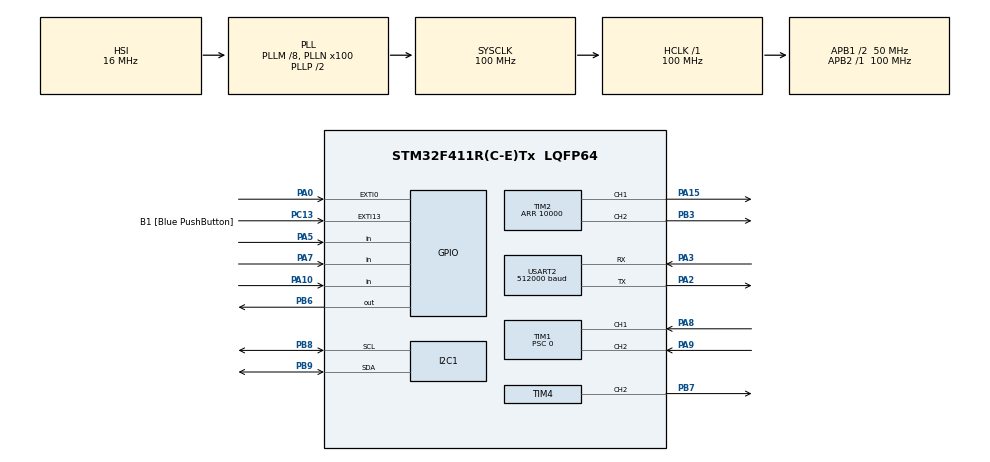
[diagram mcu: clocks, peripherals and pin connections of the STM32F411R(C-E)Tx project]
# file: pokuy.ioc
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Dma.Request0=USART2_RX
Dma.USART2_RX.0.Direction=DMA_PERIPH_TO_MEMORY
Dma.USART2_RX.0.FIFOMode=DMA_FIFOMODE_DISABLE
Dma.USART2_RX.0.Instance=DMA1_Stream5
Dma.USART2_RX.0.MemDataAlignment=DMA_MDATAALIGN_BYTE
Dma.USART2_RX.0.MemInc=DMA_MINC_ENABLE
Dma.USART2_RX.0.Mode=DMA_CIRCULAR
Dma.USART2_RX.0.PeriphDataAlignment=DMA_PDATAALIGN_BYTE
Dma.USART2_RX.0.PeriphInc=DMA_PINC_DISABLE
Dma.USART2_RX.0.Priority=DMA_PRIORITY_LOW
Mcu.Family=STM32F4
Mcu.Name=STM32F411R(C-E)Tx
Mcu.Package=LQFP64
NVIC.DMA1_Stream5_IRQn=true\:0\:0\:false\:false\:true\:false\:true\:true
NVIC.EXTI0_IRQn=true\:0\:0\:false\:false\:true\:true\:true\:true
NVIC.I2C1_ER_IRQn=true\:0\:0\:false\:false\:true\:true\:true\:true
NVIC.I2C1_EV_IRQn=true\:0\:0\:false\:false\:true\:true\:true\:true
NVIC.PriorityGroup=NVIC_PRIORITYGROUP_0
NVIC.TIM5_IRQn=true\:0\:0\:false\:false\:true\:true\:true\:true
NVIC.USART2_IRQn=true\:0\:0\:false\:false\:true\:true\:true\:true
PA0-WKUP.GPIO_ModeDefaultEXTI=GPIO_MODE_IT_RISING
PA0-WKUP.GPIO_PuPd=GPIO_PULLDOWN
PA0-WKUP.Signal=GPXTI0
PA10.Signal=GPIO_Input
PA13.GPIO_Label=TMS
PA13.Mode=Serial_Wire
PA13.Signal=SYS_JTMS-SWDIO
PA14.GPIO_Label=TCK
PA14.Mode=Serial_Wire
PA14.Signal=SYS_JTCK-SWCLK
PA15.Signal=S_TIM2_CH1_ETR
PA2.Mode=Asynchronous
PA2.Signal=USART2_TX
PA3.GPIO_ModeDefaultPP=GPIO_MODE_AF_PP
PA3.GPIO_PuPd=GPIO_NOPULL
PA3.GPIO_Speed=GPIO_SPEED_FREQ_VERY_HIGH
PA3.Mode=Asynchronous
PA3.Signal=USART2_RX
PA5.Signal=GPIO_Input
PA7.Signal=GPIO_Input
PA8.Signal=S_TIM1_CH1
PA9.Signal=S_TIM1_CH2
PB3.Signal=S_TIM2_CH2
PB6.Signal=GPIO_Output
PB7.Signal=S_TIM4_CH2
PB8.Mode=I2C
PB8.Signal=I2C1_SCL
PB9.Mode=I2C
PB9.Signal=I2C1_SDA
PC13-ANTI_TAMP.GPIO_Label=B1 [Blue PushButton]
PC13-ANTI_TAMP.GPIO_ModeDefaultEXTI=GPIO_MODE_IT_FALLING
PC13-ANTI_TAMP.Signal=GPXTI13
PC14-OSC32_IN.Mode=LSE-External-Oscillator
PC14-OSC32_IN.Signal=RCC_OSC32_IN
PC15-OSC32_OUT.Mode=LSE-External-Oscillator
PC15-OSC32_OUT.Signal=RCC_OSC32_OUT
PH0\ -\ OSC_IN.Mode=HSE-External-Clock-Source
PH0\ -\ OSC_IN.Signal=RCC_OSC_IN
PH1\ -\ OSC_OUT.Mode=HSE-External-Clock-Source
PH1\ -\ OSC_OUT.Signal=RCC_OSC_OUT
ProjectManager.HeapSize=0x200
ProjectManager.StackSize=0x400
ProjectManager.TargetToolchain=STM32CubeIDE
RCC.48MHZClocksFreq_Value=50000000
RCC.AHBFreq_Value=100000000
RCC.APB1CLKDivider=RCC_HCLK_DIV2
RCC.APB1Freq_Value=50000000
RCC.APB1TimFreq_Value=100000000
RCC.APB2Freq_Value=100000000
RCC.APB2TimFreq_Value=100000000
RCC.CortexFreq_Value=100000000
RCC.FLatency-AdvancedSettings=FLASH_LATENCY_3
RCC.HCLKFreq_Value=100000000
RCC.HSE_VALUE=8000000
RCC.HSI_VALUE=16000000
RCC.PLLM=8
RCC.PLLN=100
RCC.SYSCLKFreq_VALUE=100000000
RCC.SYSCLKSource=RCC_SYSCLKSOURCE_PLLCLK
RCC.VCOOutputFreq_Value=200000000
SH.S_TIM1_CH1.0=TIM1_CH1,Encoder_Interface
SH.S_TIM1_CH2.0=TIM1_CH2,Encoder_Interface
SH.S_TIM2_CH1_ETR.0=TIM2_CH1,PWM Generation1 CH1
SH.S_TIM2_CH2.0=TIM2_CH2,PWM Generation2 CH2
SH.S_TIM4_CH2.0=TIM4_CH2,PWM Generation2 CH2
TIM1.ClockDivision=TIM_CLOCKDIVISION_DIV1
TIM1.CounterMode=TIM_COUNTERMODE_UP
TIM1.EncoderMode=TIM_ENCODERMODE_TI1
TIM1.IC1Filter=0
TIM1.IC2Filter=0
TIM1.Period=4096
TIM1.Prescaler=0
TIM2.Channel-PWM\ Generation1\ CH1=TIM_CHANNEL_1
TIM2.Channel-PWM\ Generation2\ CH2=TIM_CHANNEL_2
TIM2.Period=10000
TIM4.Channel-PWM\ Generation2\ CH2=TIM_CHANNEL_2
TIM4.Period=1000
TIM5.Prescaler=99
USART2.BaudRate=512000
USART2.Parity=PARITY_EVEN
USART2.VirtualMode=VM_ASYNC
USART2.WordLength=WORDLENGTH_9B
VP_TIM2_VS_ClockSourceINT.Mode=Internal
VP_TIM4_VS_ClockSourceINT.Mode=Internal
VP_TIM5_VS_ClockSourceINT.Mode=Internal
board=NUCLEO-F411RE

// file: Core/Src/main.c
/* USER CODE BEGIN Header */
/**
  ******************************************************************************
  * @file           : main.c
  * @brief          : Main program body
  ******************************************************************************
  * @attention
  *
  * <h2><center>&copy; Copyright (c) 2021 STMicroelectronics.
  * All rights reserved.</center></h2>
  *
  * This software component is licensed by ST under BSD 3-Clause license,
  * the "License"; You may not use this file except in compliance with the
  * License. You may obtain a copy of the License at:
  *                        opensource.org/licenses/BSD-3-Clause
  *
  ******************************************************************************
  */
/* USER CODE END Header */
#include "main.h"

/* USER CODE BEGIN Includes */
#include "math.h"
/* USER CODE END Includes */

I2C_HandleTypeDef hi2c1;

TIM_HandleTypeDef htim1;
TIM_HandleTypeDef htim2;
TIM_HandleTypeDef htim4;
TIM_HandleTypeDef htim5;

UART_HandleTypeDef huart2;
DMA_HandleTypeDef hdma_usart2_rx;

/* USER CODE BEGIN PV */

//UART Zoneeeeeeeeeeeeeeeeeeeeee
uint8_t RxBuffer[64]={0};
int finishtask = 0;

void uartprotocol();
void sendAck(uint8_t ack);
void EndEffector();

//uint8_t ack=0;
int sunflower=0;
uint8_t Posdata = 0;
uint8_t PosdataPre = 0;
uint8_t stateuart = 0;
uint8_t mode = 0;
uint8_t frame = 0;
uint8_t data = 0;
uint8_t dataframe21 = 0;
uint8_t dataframe22 = 0;
uint8_t nstation[64] = {0};
uint8_t countloop = 0;
uint8_t loopcollect = 0;
uint8_t gripper = 1;
uint8_t gogoal = 0;
//uint8_t winput = 0;
//uint16_t thetainput = 0;
//uint8_t sethome = 0;
uint8_t position[4] = {0};
uint8_t station[10] = {0};
uint8_t nth = 0;
uint8_t numberofstation = 0;
uint8_t nextstation=0;
///////////////////////////////////////

uint64_t _micros = 0;
float EncoderVel = 0;
float wgu = 0.00;
float Kp = 610;
float Ki = 100;
float Kd = 80;
float inpwm = 700;
int homepwm = 2000;
float angel =0;
float pwm = 0;
float integral =0;
float error = 0;
float last =0;
float PID = 0;
float PID_p = 0;
float PID_i = 0;
float PID_d = 0;
float PID2 = 0;
int sethome = 1;
int homeset = 0;
uint16_t limit_state =0;
uint64_t Timestamp_Encoder = 0;
uint64_t Timestamp_home = 0;
int cw = 0;

uint64_t tt = 0;
uint64_t timestampmain = 0;
float winput = 0; //wdesire
float thetanow = 0;
float thetainput = 0;
float thetadiff = 0;
float testclockwiseoranticlockwise = 0;
float clockwiseoranticlockwise = 0;  //if 1 = clockwise , if 0 = anticlockwise
float t = 0;
float count = 0;
float theta = 0;
float w = 0;
float pu1 = 0;
float pe2 = 0;
float pe1 = 0;
float u = 0;
float delta_u = 0;
uint64_t x_bar = 0;

//rad,s,rad^2

//the group of variable for equation in physic
float thetainputrad = 0;
float thetanowrad = 0;
float thetadiffrad = 0;
float alpharad = 0.5;
float wmaxrad = 0;
float winputrad = 0;
float thalfrad = 0;
float timerad = 0;
float trad = 0;
float timestamploop1rad = 0;
float timeuseinloop1rad = 0;
float thetarad = 0;
float thetahalfrad = 0;
float wrad = 0;
float timestamplooprad = 0;
float timeuseinlooprad = 0;
float thetastablerad = 0;
float tstablerad = 0;
float tstableirad = 0;
float tstablefrad = 0;
float time1rad = 0;
float thetastableirad = 0;
float thetastablefrad = 0;
float wstableifrad = 0;
float wradhalf = 0;

//optional variables
float a = 0;
float b = 0;
float c = 0;
float d = 0;
float f = 0;
float g = 0;
float h = 0;
float i = 0;
float j = 0;
float k = 0;
float l = 0;
float m = 0;
float n = 0;
float bank = 0;
float start = 0;
float bank1 = 0;
//float gogoal = 0;
float ttt = 0;
float run = 0;
float stoprun = 0;
float testsethome = 0;
uint8_t goal[255] = {0};
/* USER CODE END PV */

void SystemClock_Config(void);
static void MX_GPIO_Init(void);
static void MX_TIM1_Init(void);
static void MX_TIM4_Init(void);
static void MX_TIM2_Init(void);
static void MX_DMA_Init(void);
static void MX_USART2_UART_Init(void);
static void MX_I2C1_Init(void);
static void MX_TIM5_Init(void);
/* USER CODE BEGIN PFP */
uint64_t micros();
float EncoderVelocity_Update();
float pidvelo();
float pidposi();

/* USER CODE END PFP */

int main(void)
{

  /* MCU Configuration--------------------------------------------------------*/

  /* Reset of all peripherals, Initializes the Flash interface and the Systick. */
  HAL_Init();

  /* Configure the system clock */
  SystemClock_Config();

  /* Initialize all configured peripherals */
  MX_GPIO_Init();
  MX_TIM1_Init();
  MX_TIM4_Init();
  MX_TIM2_Init();
  MX_DMA_Init();
  MX_USART2_UART_Init();
  MX_I2C1_Init();
  MX_TIM5_Init();
  /* USER CODE BEGIN 2 */

  //UART Zoneeeeeeeeeeeeeee
  HAL_UART_Receive_DMA(&huart2,RxBuffer, 64);
  ///////////////////////////////////////////////////////

  HAL_TIM_Base_Start_IT(&htim2);
  HAL_TIM_Base_Start_IT(&htim5);
  HAL_TIM_Encoder_Start(&htim1, TIM_CHANNEL_ALL);
//  HAL_TIM_Encoder_Start(&htim3, TIM_CHANNEL_ALL);
  HAL_TIM_PWM_Start(&htim2, TIM_CHANNEL_2);
  HAL_TIM_PWM_Start(&htim4, TIM_CHANNEL_1);

  /* USER CODE END 2 */

  /* Infinite loop */
  /* USER CODE BEGIN WHILE */
  while (1)
  {

	  uartprotocol();

//	  __HAL_TIM_SET_COMPARE(&htim2, TIM_CHANNEL_2, pwm);
//	 limit_state =  HAL_GPIO_ReadPin(GPIOB, GPIO_PIN_5);
//	 HAL_GPIO_ReadPin()

    /* USER CODE END WHILE */

    /* USER CODE BEGIN 3 */
//	  __HAL_TIM_SET_COMPARE(&htim2, TIM_CHANNEL_2, pwm);
//	  __HAL_TIM_SET_COMPARE(&htim4, TIM_CHANNEL_1, cw);

	  angel = (((htim1.Instance->CNT)*0.08789062));

	  ttt = htim1.Instance->CNT;
	 tt = htim5.Instance->CNT;
	 t = tt;
	 trad = (t/1000000);
	 PID2 = HAL_GPIO_ReadPin(GPIOB, GPIO_PIN_5);

	  station[1]= 30;
	  station[2]= 60;
	  station[3]= 220;
	  station[4]= 120;
	  station[5]= 140;
	  station[6]= 170;
	  station[7]= 75;
	  station[8]= 180;
	  station[9]= 200;

	  if(numberofstation>=1)
	  {
		  thetainput= station[goal[nextstation]];
	  }

	  if (sethome == 1)
	  {
		  if(HAL_GPIO_ReadPin(GPIOB, GPIO_PIN_5)==1)
		  {
		  	  testsethome = 1;
			  __HAL_TIM_SET_COMPARE(&htim2, TIM_CHANNEL_2, homepwm);
			  HAL_GPIO_WritePin(GPIOB, GPIO_PIN_6 , 0);
		  }

		  if(HAL_GPIO_ReadPin(GPIOB, GPIO_PIN_5)==0)
		  {
			  __HAL_TIM_SET_COMPARE(&htim2, TIM_CHANNEL_2, 0);
			htim1.Instance->CNT = 0;

			if(htim1.Instance->CNT == 0)
			{
				htim1.Instance->CNT = 0;
				sethome = 0;
				Timestamp_home = micros();
//				pwm = 0;
				homeset = 1;
				testsethome = 0;
				stoprun=1;
			}

		  }
	  }

	  if (micros() - Timestamp_home >= 2000000 && homeset ==1)
	  {
			htim1.Instance->CNT = 0;
			homeset = 0;
	  }

	 if(gogoal == 1)
	 {
		 b = thetainput;
		 d = winput;
		 count = 0;
		 thetanow = angel;
		 gogoal = 0;
		 start = 1;
		 stoprun = 0;
		 sunflower = 0;
	 }

	 testclockwiseoranticlockwise = thetainput - thetanow;

	 if(testclockwiseoranticlockwise >= 0)
	 {
		 clockwiseoranticlockwise = 1;     //clockwise
	 }
	 else if(testclockwiseoranticlockwise < 0)
	 {
		 clockwiseoranticlockwise = 0;     //anticlockwise
	 }

	 l = thetainput - thetanow;
	 thetadiff = fabs(l);
	 thetainputrad = ((thetainput*M_PI)/180);
	 thetanowrad = ((thetanow*M_PI)/180);
	 m = thetainputrad - thetanowrad;
	 thetadiffrad = fabs(m);
	 wmaxrad = sqrt(alpharad*thetadiffrad);
	 winputrad = ((winput*2*M_PI)/60);
	 n = -1;

	 if(wmaxrad < winputrad && start == 1) //case not reach to input
	 {
		 if(clockwiseoranticlockwise == 1)
	     {
			 thalfrad = wmaxrad/alpharad;
			 timerad = 2*thalfrad;

			 if(count == 0)
			 {
				 timestamploop1rad = trad;
				 run = 1;
				 count = 1;
			 }

			 timeuseinloop1rad = trad - timestamploop1rad;

			 if(timeuseinloop1rad <= thalfrad)    //first half
			 {
				 k = (0.5)*(alpharad)*(timeuseinloop1rad)*(timeuseinloop1rad);
				 thetarad = k+thetanowrad;
				 wrad = (alpharad)*(timeuseinloop1rad);
				 thetahalfrad = thetarad;
				 wradhalf = wrad;
			 }

			 else if(timeuseinloop1rad > thalfrad && timeuseinloop1rad <= timerad)
			 {
				 a = timeuseinloop1rad-thalfrad;
				 thetarad = (wradhalf*a)-(0.5*alpharad*a*a)+thetahalfrad;
				 wrad = wradhalf-(alpharad*a);
			 }

			 else if(timeuseinloop1rad > timerad && stoprun == 0)
			 {
				 run = 0;
				 stoprun = 1;

				 //theta = angel;
			 }

		 }
		 else if(clockwiseoranticlockwise == 0)
		 {
			 thalfrad = wmaxrad/alpharad;
			 timerad = 2*thalfrad;

			 if(count == 0)
			 {
				 run = 1;
				 timestamploop1rad = trad;
				 count = 1;
			 }

			 timeuseinloop1rad = trad - timestamploop1rad;

			 if(timeuseinloop1rad <= thalfrad)    //first half
			 {
				 k = (n)*(0.5)*(alpharad)*(timeuseinloop1rad)*(timeuseinloop1rad);
				 thetarad = k+thetanowrad;
				 wrad = (n)*(alpharad)*(timeuseinloop1rad);
				 thetahalfrad = thetarad;
				 wradhalf = wrad;
			 }

			 else if(timeuseinloop1rad > thalfrad && timeuseinloop1rad <= timerad)
			 {
				 a = timeuseinloop1rad-thalfrad;
				 thetarad = (wradhalf*a)+(0.5*alpharad*a*a)+thetahalfrad;
				 wrad = wradhalf+(alpharad*a);
			 }

			 else if(timeuseinloop1rad > timerad && stoprun == 0)
			 {
				 run = 0;
				 stoprun = 1;
				 //theta = angel;

			 }
		 }
	  }
	  else if(wmaxrad >= winputrad && start == 1)
	  {
		 if(clockwiseoranticlockwise == 1)
		 {
			  if(count == 0)
			  {
				  run = 1;
				  timestamplooprad = trad;
				  count = 1;
			  }

			  timeuseinlooprad = trad - timestamplooprad;
			  c = (winputrad*winputrad)/alpharad;
			  thetastablerad = thetadiffrad - c;
			  f = winputrad/alpharad;
			  g = thetastablerad/winputrad;
			  tstablerad = g;
			  tstableirad = f;
			  tstablefrad = f + g;
			  time1rad = f + g + f;

			  if(timeuseinlooprad <= tstableirad)
			  {
				   wrad = alpharad*timeuseinlooprad;
				   j = (wrad*wrad)/(2*alpharad);
				   thetarad = j+thetanowrad;
				   thetastableirad = thetarad;
				   wstableifrad = wrad;
			  }

			  else if(timeuseinlooprad > tstableirad && timeuseinlooprad <= tstablefrad)
			  {
				   h = timeuseinlooprad-tstableirad;
				   thetarad = (wstableifrad*h)+(thetastableirad);
				   wrad = wstableifrad;
				   thetastablefrad = thetarad;
			  }

			  else if(timeuseinlooprad > tstablefrad && timeuseinlooprad <= time1rad)
			  {
				   i = timeuseinlooprad-tstablefrad;
				   thetarad = (wstableifrad*i)-(0.5*alpharad*i*i)+(thetastablefrad);
				   wrad = wstableifrad-(alpharad*i);
			  }

			  else if(timeuseinlooprad > time1rad && stoprun == 0)
			  {
				   run = 0;
				   stoprun = 1;
				   //theta = angel;

			  }
	  	 }
		 else if(clockwiseoranticlockwise == 0)
		 {
			  if(count == 0)
			  {
				  run = 1;
				  timestamplooprad = trad;
				  count = 1;
			  }

			  timeuseinlooprad = trad - timestamplooprad;
			  c = (winputrad*winputrad)/alpharad;
			  thetastablerad = thetadiffrad - c;
			  f = winputrad/alpharad;
			  g = thetastablerad/winputrad;
			  tstablerad = g;
			  tstableirad = f;
			  tstablefrad = f + g;
			  time1rad = f + g + f;

			  if(timeuseinlooprad <= tstableirad)
			  {
//						   alpharad = 0.5;
				   wrad = n*alpharad*timeuseinlooprad;
				   j = (n*wrad*wrad)/(2*alpharad);
				   thetarad = j+thetanowrad;
				   thetastableirad = thetarad;
				   wstableifrad = wrad;
			  }

			  else if(timeuseinlooprad > tstableirad && timeuseinlooprad <= tstablefrad)
			  {
//						   alpha = 0;
				   h = timeuseinlooprad-tstableirad;
				   thetarad = (wstableifrad*h)+(thetastableirad);
				   wrad = wstableifrad;
				   thetastablefrad = thetarad;
			  }

			  else if(timeuseinlooprad > tstablefrad && timeuseinlooprad <= time1rad)
			  {
//						   alpha = -0.5;
				   i = timeuseinlooprad-tstablefrad;
				   thetarad = (wstableifrad*i)+(0.5*alpharad*i*i)+(thetastablefrad);
				   wrad = wstableifrad+(alpharad*i);
			  }

			  else if(timeuseinlooprad > time1rad && stoprun == 0)
			  {
				  run = 0;
				  stoprun = 1;

			  }
	  	   }
	  }
	  theta = (thetarad*180)/(M_PI);
	  w = (wrad*60)/(2*M_PI);
//

//trad = second
//theta = degree
//w = rpm rad/min

//	  __HAL_TIM_SET_COMPARE(&htim2, TIM_CHANNEL_2, (int) pwm);
	  ///////////////PID////////////////
//	  x_bar = HAL_GPIO_ReadPin(GPIOA, GPIO_PIN_7);

	  if (micros() - Timestamp_Encoder >= 100)
	  {
 			Timestamp_Encoder = micros();
			EncoderVel = (EncoderVel * 99 + EncoderVelocity_Update()) / 100.0;
			wgu = EncoderVel*60 / 4095;

			if (wgu > 15 || wgu<-15)
			{
				wgu = 0;
			}

			error = (theta - angel);

			if (error<0)
			{
				error =0-error;
			}

			integral += error;
			if(stoprun!=1)
			{
				PID_p = Kp*error;
				PID_i = Ki*integral/Timestamp_Encoder;
				PID_d = Kd*(error-last);
				PID = PID_p + PID_i + PID_d;
			}

			last = error;
			if (sethome == 0)
			{
				pwm = PID  ;
			}

			if (pwm > 10000 )
			{
				 pwm = 10000;
			}

			if (angel < thetainput )
			{

			  __HAL_TIM_SET_COMPARE(&htim2, TIM_CHANNEL_2, (int)pwm+inpwm);
			  HAL_GPIO_WritePin(GPIOB, GPIO_PIN_6 , 0);
			}

			if (angel > thetainput)
			{

			  __HAL_TIM_SET_COMPARE(&htim2, TIM_CHANNEL_2, (int)pwm+inpwm);
			  HAL_GPIO_WritePin(GPIOB, GPIO_PIN_6 , 1);
			}

			if(run == 0 && stoprun == 1 && sunflower == 0)
			{

				__HAL_TIM_SET_COMPARE(&htim2, TIM_CHANNEL_2, 0);
				pwm = 0;
				PID = 0;
				PID_i  = 0;
				PID_d = 0;

				integral = 0;
				finishtask = 1;

//				EndEffector();
			}

			if (finishtask == 1)
			  {
				sendAck(2);
//				sunflower=7;
				finishtask = 0;
				sunflower = 1;
				EndEffector();
			  }
      }
//
  }

  /* USER CODE END 3 */
}

void SystemClock_Config(void)
{
  RCC_OscInitTypeDef RCC_OscInitStruct = {0};
  RCC_ClkInitTypeDef RCC_ClkInitStruct = {0};

  /** Configure the main internal regulator output voltage
  */
  __HAL_RCC_PWR_CLK_ENABLE();
  __HAL_PWR_VOLTAGESCALING_CONFIG(PWR_REGULATOR_VOLTAGE_SCALE1);
  /** Initializes the RCC Oscillators according to the specified parameters
  * in the RCC_OscInitTypeDef structure.
  */
  RCC_OscInitStruct.OscillatorType = RCC_OSCILLATORTYPE_HSI;
  RCC_OscInitStruct.HSIState = RCC_HSI_ON;
  RCC_OscInitStruct.HSICalibrationValue = RCC_HSICALIBRATION_DEFAULT;
  RCC_OscInitStruct.PLL.PLLState = RCC_PLL_ON;
  RCC_OscInitStruct.PLL.PLLSource = RCC_PLLSOURCE_HSI;
  RCC_OscInitStruct.PLL.PLLM = 8;
  RCC_OscInitStruct.PLL.PLLN = 100;
  RCC_OscInitStruct.PLL.PLLP = RCC_PLLP_DIV2;
  RCC_OscInitStruct.PLL.PLLQ = 4;
  if (HAL_RCC_OscConfig(&RCC_OscInitStruct) != HAL_OK)
  {
    Error_Handler();
  }
  /** Initializes the CPU, AHB and APB buses clocks
  */
  RCC_ClkInitStruct.ClockType = RCC_CLOCKTYPE_HCLK|RCC_CLOCKTYPE_SYSCLK
                              |RCC_CLOCKTYPE_PCLK1|RCC_CLOCKTYPE_PCLK2;
  RCC_ClkInitStruct.SYSCLKSource = RCC_SYSCLKSOURCE_PLLCLK;
  RCC_ClkInitStruct.AHBCLKDivider = RCC_SYSCLK_DIV1;
  RCC_ClkInitStruct.APB1CLKDivider = RCC_HCLK_DIV2;
  RCC_ClkInitStruct.APB2CLKDivider = RCC_HCLK_DIV1;

  if (HAL_RCC_ClockConfig(&RCC_ClkInitStruct, FLASH_LATENCY_3) != HAL_OK)
  {
    Error_Handler();
  }
}

static void MX_I2C1_Init(void)
{

  hi2c1.Instance = I2C1;
  hi2c1.Init.ClockSpeed = 100000;
  hi2c1.Init.DutyCycle = I2C_DUTYCYCLE_2;
  hi2c1.Init.OwnAddress1 = 0;
  hi2c1.Init.AddressingMode = I2C_ADDRESSINGMODE_7BIT;
  hi2c1.Init.DualAddressMode = I2C_DUALADDRESS_DISABLE;
  hi2c1.Init.OwnAddress2 = 0;
  hi2c1.Init.GeneralCallMode = I2C_GENERALCALL_DISABLE;
  hi2c1.Init.NoStretchMode = I2C_NOSTRETCH_DISABLE;
  if (HAL_I2C_Init(&hi2c1) != HAL_OK)
  {
    Error_Handler();
  }

}

static void MX_TIM1_Init(void)
{

  TIM_Encoder_InitTypeDef sConfig = {0};
  TIM_MasterConfigTypeDef sMasterConfig = {0};

  htim1.Instance = TIM1;
  htim1.Init.Prescaler = 0;
  htim1.Init.CounterMode = TIM_COUNTERMODE_UP;
  htim1.Init.Period = 4096;
  htim1.Init.ClockDivision = TIM_CLOCKDIVISION_DIV1;
  htim1.Init.RepetitionCounter = 0;
  htim1.Init.AutoReloadPreload = TIM_AUTORELOAD_PRELOAD_DISABLE;
  sConfig.EncoderMode = TIM_ENCODERMODE_TI1;
  sConfig.IC1Polarity = TIM_ICPOLARITY_RISING;
  sConfig.IC1Selection = TIM_ICSELECTION_DIRECTTI;
  sConfig.IC1Prescaler = TIM_ICPSC_DIV1;
  sConfig.IC1Filter = 0;
  sConfig.IC2Polarity = TIM_ICPOLARITY_RISING;
  sConfig.IC2Selection = TIM_ICSELECTION_DIRECTTI;
  sConfig.IC2Prescaler = TIM_ICPSC_DIV1;
  sConfig.IC2Filter = 0;
  if (HAL_TIM_Encoder_Init(&htim1, &sConfig) != HAL_OK)
  {
    Error_Handler();
  }
  sMasterConfig.MasterOutputTrigger = TIM_TRGO_RESET;
  sMasterConfig.MasterSlaveMode = TIM_MASTERSLAVEMODE_DISABLE;
  if (HAL_TIMEx_MasterConfigSynchronization(&htim1, &sMasterConfig) != HAL_OK)
  {
    Error_Handler();
  }

}

static void MX_TIM2_Init(void)
{

  TIM_ClockConfigTypeDef sClockSourceConfig = {0};
  TIM_MasterConfigTypeDef sMasterConfig = {0};
  TIM_OC_InitTypeDef sConfigOC = {0};

  htim2.Instance = TIM2;
  htim2.Init.Prescaler = 0;
  htim2.Init.CounterMode = TIM_COUNTERMODE_UP;
  htim2.Init.Period = 10000;
  htim2.Init.ClockDivision = TIM_CLOCKDIVISION_DIV1;
  htim2.Init.AutoReloadPreload = TIM_AUTORELOAD_PRELOAD_DISABLE;
  if (HAL_TIM_Base_Init(&htim2) != HAL_OK)
  {
    Error_Handler();
  }
  sClockSourceConfig.ClockSource = TIM_CLOCKSOURCE_INTERNAL;
  if (HAL_TIM_ConfigClockSource(&htim2, &sClockSourceConfig) != HAL_OK)
  {
    Error_Handler();
  }
  if (HAL_TIM_PWM_Init(&htim2) != HAL_OK)
  {
    Error_Handler();
  }
  sMasterConfig.MasterOutputTrigger = TIM_TRGO_RESET;
  sMasterConfig.MasterSlaveMode = TIM_MASTERSLAVEMODE_DISABLE;
  if (HAL_TIMEx_MasterConfigSynchronization(&htim2, &sMasterConfig) != HAL_OK)
  {
    Error_Handler();
  }
  sConfigOC.OCMode = TIM_OCMODE_PWM1;
  sConfigOC.Pulse = 0;
  sConfigOC.OCPolarity = TIM_OCPOLARITY_HIGH;
  sConfigOC.OCFastMode = TIM_OCFAST_DISABLE;
  if (HAL_TIM_PWM_ConfigChannel(&htim2, &sConfigOC, TIM_CHANNEL_1) != HAL_OK)
  {
    Error_Handler();
  }
  if (HAL_TIM_PWM_ConfigChannel(&htim2, &sConfigOC, TIM_CHANNEL_2) != HAL_OK)
  {
    Error_Handler();
  }
  HAL_TIM_MspPostInit(&htim2);

}

static void MX_TIM4_Init(void)
{

  TIM_ClockConfigTypeDef sClockSourceConfig = {0};
  TIM_MasterConfigTypeDef sMasterConfig = {0};
  TIM_OC_InitTypeDef sConfigOC = {0};

  htim4.Instance = TIM4;
  htim4.Init.Prescaler = 0;
  htim4.Init.CounterMode = TIM_COUNTERMODE_UP;
  htim4.Init.Period = 1000;
  htim4.Init.ClockDivision = TIM_CLOCKDIVISION_DIV1;
  htim4.Init.AutoReloadPreload = TIM_AUTORELOAD_PRELOAD_DISABLE;
  if (HAL_TIM_Base_Init(&htim4) != HAL_OK)
  {
    Error_Handler();
  }
  sClockSourceConfig.ClockSource = TIM_CLOCKSOURCE_INTERNAL;
  if (HAL_TIM_ConfigClockSource(&htim4, &sClockSourceConfig) != HAL_OK)
  {
    Error_Handler();
  }
  if (HAL_TIM_PWM_Init(&htim4) != HAL_OK)
  {
    Error_Handler();
  }
  sMasterConfig.MasterOutputTrigger = TIM_TRGO_RESET;
  sMasterConfig.MasterSlaveMode = TIM_MASTERSLAVEMODE_DISABLE;
  if (HAL_TIMEx_MasterConfigSynchronization(&htim4, &sMasterConfig) != HAL_OK)
  {
    Error_Handler();
  }
  sConfigOC.OCMode = TIM_OCMODE_PWM1;
  sConfigOC.Pulse = 0;
  sConfigOC.OCPolarity = TIM_OCPOLARITY_HIGH;
  sConfigOC.OCFastMode = TIM_OCFAST_DISABLE;
  if (HAL_TIM_PWM_ConfigChannel(&htim4, &sConfigOC, TIM_CHANNEL_2) != HAL_OK)
  {
    Error_Handler();
  }
  HAL_TIM_MspPostInit(&htim4);

}

static void MX_TIM5_Init(void)
{

  TIM_ClockConfigTypeDef sClockSourceConfig = {0};
  TIM_MasterConfigTypeDef sMasterConfig = {0};

  htim5.Instance = TIM5;
  htim5.Init.Prescaler = 99;
  htim5.Init.CounterMode = TIM_COUNTERMODE_UP;
  htim5.Init.Period = 4294967295;
  htim5.Init.ClockDivision = TIM_CLOCKDIVISION_DIV1;
  htim5.Init.AutoReloadPreload = TIM_AUTORELOAD_PRELOAD_DISABLE;
  if (HAL_TIM_Base_Init(&htim5) != HAL_OK)
  {
    Error_Handler();
  }
  sClockSourceConfig.ClockSource = TIM_CLOCKSOURCE_INTERNAL;
  if (HAL_TIM_ConfigClockSource(&htim5, &sClockSourceConfig) != HAL_OK)
  {
    Error_Handler();
  }
  sMasterConfig.MasterOutputTrigger = TIM_TRGO_RESET;
  sMasterConfig.MasterSlaveMode = TIM_MASTERSLAVEMODE_DISABLE;
  if (HAL_TIMEx_MasterConfigSynchronization(&htim5, &sMasterConfig) != HAL_OK)
  {
    Error_Handler();
  }

}

static void MX_USART2_UART_Init(void)
{

  huart2.Instance = USART2;
  huart2.Init.BaudRate = 512000;
  huart2.Init.WordLength = UART_WORDLENGTH_9B;
  huart2.Init.StopBits = UART_STOPBITS_1;
  huart2.Init.Parity = UART_PARITY_EVEN;
  huart2.Init.Mode = UART_MODE_TX_RX;
  huart2.Init.HwFlowCtl = UART_HWCONTROL_NONE;
  huart2.Init.OverSampling = UART_OVERSAMPLING_16;
  if (HAL_UART_Init(&huart2) != HAL_OK)
  {
    Error_Handler();
  }

}

static void MX_DMA_Init(void)
{

  /* DMA controller clock enable */
  __HAL_RCC_DMA1_CLK_ENABLE();

  /* DMA interrupt init */
  /* DMA1_Stream5_IRQn interrupt configuration */
  HAL_NVIC_SetPriority(DMA1_Stream5_IRQn, 0, 0);
  HAL_NVIC_EnableIRQ(DMA1_Stream5_IRQn);

}

static void MX_GPIO_Init(void)
{
  GPIO_InitTypeDef GPIO_InitStruct = {0};

  /* GPIO Ports Clock Enable */
  __HAL_RCC_GPIOC_CLK_ENABLE();
  __HAL_RCC_GPIOH_CLK_ENABLE();
  __HAL_RCC_GPIOA_CLK_ENABLE();
  __HAL_RCC_GPIOB_CLK_ENABLE();

  /*Configure GPIO pin Output Level */
  HAL_GPIO_WritePin(GPIOB, GPIO_PIN_6, GPIO_PIN_RESET);

  /*Configure GPIO pin : B1_Pin */
  GPIO_InitStruct.Pin = B1_Pin;
  GPIO_InitStruct.Mode = GPIO_MODE_IT_FALLING;
  GPIO_InitStruct.Pull = GPIO_NOPULL;
  HAL_GPIO_Init(B1_GPIO_Port, &GPIO_InitStruct);

  /*Configure GPIO pin : PA0 */
  GPIO_InitStruct.Pin = GPIO_PIN_0;
  GPIO_InitStruct.Mode = GPIO_MODE_IT_RISING;
  GPIO_InitStruct.Pull = GPIO_PULLDOWN;
  HAL_GPIO_Init(GPIOA, &GPIO_InitStruct);

  /*Configure GPIO pins : PA5 PA7 PA10 */
  GPIO_InitStruct.Pin = GPIO_PIN_5|GPIO_PIN_7|GPIO_PIN_10;
  GPIO_InitStruct.Mode = GPIO_MODE_INPUT;
  GPIO_InitStruct.Pull = GPIO_NOPULL;
  HAL_GPIO_Init(GPIOA, &GPIO_InitStruct);

  /*Configure GPIO pin : PB6 */
  GPIO_InitStruct.Pin = GPIO_PIN_6;
  GPIO_InitStruct.Mode = GPIO_MODE_OUTPUT_PP;
  GPIO_InitStruct.Pull = GPIO_NOPULL;
  GPIO_InitStruct.Speed = GPIO_SPEED_FREQ_LOW;
  HAL_GPIO_Init(GPIOB, &GPIO_InitStruct);

  /* EXTI interrupt init*/
  HAL_NVIC_SetPriority(EXTI0_IRQn, 0, 0);
  HAL_NVIC_EnableIRQ(EXTI0_IRQn);

}

/* USER CODE BEGIN 4 */

enum
{
	init=0,startmode=1,collectdataframe2_1=2,collectdataframe2_2=3,loopframe3=4,collectdataframe3=5,checksum=6,checkconnect=7
};

void uartprotocol(){

	Posdata=huart2.RxXferSize-huart2.hdmarx->Instance->NDTR;
	if(Posdata!=PosdataPre )
	{
		switch(stateuart)
		{
			case 0:			//init >> check if it connect to MCU
				if (RxBuffer[PosdataPre] == 0b10010010)
				{
					mode = 2;		//connect mcu
					frame = 1;
					stateuart = checkconnect;
				}
			break;

			case 1:			//startmode >> check Start+Mode
				if (RxBuffer[PosdataPre] == 0b10010011)
				{
					mode = 3;		//disconnect mcu
					frame = 1;
					stateuart = checksum;
				}

				else if (RxBuffer[PosdataPre] == 0b10010100)
				{
					mode = 4;		//set angular velocity
					frame = 2;
					data = 0x94;
					stateuart = collectdataframe2_1;
				}

				else if (RxBuffer[PosdataPre] == 0b10010101)
				{
					mode = 5;		//set angular position
					frame = 2;
					data = 0x95;
					stateuart = collectdataframe2_1;
				}

				else if (RxBuffer[PosdataPre] == 0b10010110)
				{
					mode = 6;		//set goal 1 station
					frame = 2;
					data = 0x96;
					stateuart = collectdataframe2_1;
				}

				else if (RxBuffer[PosdataPre] == 0b10010111)
				{
					mode = 7;		//set goal n station
					frame = 3;
					data = 0x97;
					stateuart = loopframe3;
				}

				else if (RxBuffer[PosdataPre] == 0b10011000)
				{
					mode = 8;		//go goal
					frame = 1;
					stateuart = checksum;
				}

				else if (RxBuffer[PosdataPre] == 0b10011001)
				{
					mode = 9;		//request current station
					frame = 1;
					stateuart = checksum;
				}

				else if (RxBuffer[PosdataPre] == 0b10011010)
				{
					mode = 10;		//request angular position
					frame = 1;
					stateuart = checksum;
				}

				else if (RxBuffer[PosdataPre] == 0b10011011)
				{
					mode = 11;		//request angular velocity
					frame = 1;
					stateuart = checksum;
				}

				else if (RxBuffer[PosdataPre] == 0b10011100)
				{
					mode = 12;		//enable gripper
					frame = 1;
					stateuart = checksum;
				}

				else if (RxBuffer[PosdataPre] == 0b10011101)
				{
					mode = 13;		//disable gripper
					frame = 1;
					stateuart = checksum;
				}

				else if (RxBuffer[PosdataPre] == 0b10011110)
				{
					mode = 14;		//set home
					frame = 1;
					stateuart = checksum;
				}

			break;

			case 2:			//collect data frame 2_1
				if (frame == 2)
				{
					dataframe21 = RxBuffer[PosdataPre];
					data += RxBuffer[PosdataPre];
				}
				stateuart = collectdataframe2_2;

			break;

			case 3:			//collect data frame 2_2
				if (frame == 2)
				{
					dataframe22 = RxBuffer[PosdataPre];
					data += RxBuffer[PosdataPre];
				}
				stateuart = checksum;

			break;

			case 4:			//loop frame 3
				{
				loopcollect = RxBuffer[PosdataPre];
				data += RxBuffer[PosdataPre];
				stateuart = collectdataframe3;
				}
			break;

			case 5:			//collect data frame 3
				if (countloop < loopcollect)
				{
					data += RxBuffer[PosdataPre];
					nstation[countloop] = (RxBuffer[PosdataPre] & 0b1111);
					nstation[countloop+1] = ((RxBuffer[PosdataPre] & 0b11110000) >>4 );
					countloop += 2;
					stateuart = collectdataframe3;
					sunflower = 2;
				}
				else
				{
					stateuart = checksum;
				}

			break;

			case 6:			//checksum
				data= ~(data);
				sunflower = 10;
				if (mode == 3 && RxBuffer[PosdataPre] == 0b01101100)	//disconnect
				{
					sendAck(1);
					stateuart = startmode;
				}

				else if (mode == 4 && RxBuffer[PosdataPre] == data )	//set angular velocity
				{
					winput = dataframe22*10/255;			//rpm
					sendAck(1);
					stateuart = startmode;
				}

				else if (mode == 5 && RxBuffer[PosdataPre] ==  data )	//set angular position
				{
					thetainput = ((dataframe21*256) + dataframe22)*180/(10000*3.14159265);  	//degree
					sendAck(1);
					stateuart = startmode;
				}

				else if (mode == 6 && RxBuffer[PosdataPre] == data )	//set goal 1 station
				{
					goal[0] = dataframe22;
					numberofstation=1;
					nextstation=0;
					sendAck(1);
					stateuart = startmode;
				}

				else if (mode == 7 && RxBuffer[PosdataPre] == data )	//set goal n station
				{
					sunflower =3;
					sendAck(1);
					stateuart = startmode;
				}

				else if (mode == 8 && RxBuffer[PosdataPre] == 0b01100111)	//go goal
				{
					gogoal = 1;
					sendAck(1);
					stateuart = startmode;
				}

				else if (mode == 9 && RxBuffer[PosdataPre] == 0b01100110)	//request current station
				{
					sendAck(1);
					stateuart = startmode;
				}

				else if (mode == 10 && RxBuffer[PosdataPre] == 0b01100101)	//request angular position
				{
					sendAck(1);
					float radthousand = angel*10000*3.14/180;		//angel = present degree that read from encoder
					uint8_t p1 = (uint8_t)(radthousand/256);
					uint8_t p2 = (uint8_t)((int)(radthousand)%256);
					uint8_t checksumposition = ~((0b10011010+p1+p2) & 0xff);
					uint8_t position[32] = {0b10011010, p1,p2,checksumposition};
					HAL_UART_Transmit(&huart2, position, 4, 100);
					stateuart = startmode;
				}

				else if (mode == 11 && RxBuffer[PosdataPre] == 0b01100100)	//request angular velocity
				{
					sendAck(1);
					uint8_t omega = (uint8_t)(wgu*255/10);			// wgu = present omega that read from encoder
					uint8_t checksumvelocity = ~((0b10011011+omega) & 0xff);
					uint8_t velocity[32] = {0b10011011, 0,omega,checksumvelocity};
					HAL_UART_Transmit(&huart2, velocity, 4, 100);
					stateuart = startmode;
				}

				else if (mode == 12 && RxBuffer[PosdataPre] == 0b01100011)	//enable gripper
				{
					gripper = 1;
					sendAck(1);
					stateuart = startmode;
				}

				else if (mode == 13 && RxBuffer[PosdataPre] == 0b01100010)	//disable gripper
				{
					gripper = 0;
					sendAck(1);
					stateuart = startmode;
				}

				else if (mode == 14 && RxBuffer[PosdataPre] == 0b01100001)	//set home
				{
					sethome = 1;
					sendAck(1);
					stateuart = startmode;
				}

			break;

			case 7:		//checkconnect
				if (RxBuffer[PosdataPre] == 0b01101101)
				{
					sendAck(1);
				}
				stateuart = startmode;
			break;

		}
		PosdataPre=(PosdataPre+1)%huart2.RxXferSize;
	}
}

void sendAck(uint8_t ack)
{
	static uint8_t ack1[2]={0x58,0b01110101};
	static uint8_t ack2[2]={70,110};
	HAL_Delay(20);
	if(ack == 1)
	{
		HAL_UART_Transmit_IT(&huart2, ack1, 2);
	}

	else if(ack ==2)
	{
//		return;
		HAL_UART_Transmit_IT(&huart2, ack2, 2);
//	ackackbank = 1;

//		ackcount = ackcount + 1;
	}

}

void EndEffector()
{
	if (gripper == 1)
	{
		static const uint8_t laser_Addr=(0x23<<1);
		static uint8_t pdatastart[1]={0x45};
		HAL_I2C_Master_Transmit_IT(&hi2c1, laser_Addr, pdatastart, 1);
	}
}

void HAL_GPIO_EXTI_Callback(uint16_t GPIO_Pin)
{
  if(GPIO_Pin == GPIO_PIN_0)
  {
	  TIM1->CNT = 0;
  }
}
#define  HTIM_ENCODER htim1
#define  MAX_SUBPOSITION_OVERFLOW 8192
#define  MAX_ENCODER_PERIOD 8192
float EncoderVelocity_Update() {
	//Save Last state
	static uint32_t EncoderLastPosition = 0;
	static uint64_t EncoderLastTimestamp = 0;

	//read data
	uint32_t EncoderNowPosition = HTIM_ENCODER.Instance->CNT;
	uint64_t EncoderNowTimestamp = micros();

	int32_t EncoderPositionDiff;
	uint64_t EncoderTimeDiff;

	EncoderTimeDiff = EncoderNowTimestamp - EncoderLastTimestamp;
	EncoderPositionDiff = EncoderNowPosition - EncoderLastPosition;

	//compensate overflow and underflow
	if (EncoderPositionDiff >= MAX_SUBPOSITION_OVERFLOW) {
		EncoderPositionDiff -= MAX_ENCODER_PERIOD;
	} else if (-EncoderPositionDiff >= MAX_SUBPOSITION_OVERFLOW) {
		EncoderPositionDiff += MAX_ENCODER_PERIOD;
	}

	//Update Position and time
	EncoderLastPosition = EncoderNowPosition;
	EncoderLastTimestamp = EncoderNowTimestamp;
	//Calculate velocity
	//EncoderTimeDiff is in uS
	return (EncoderPositionDiff * 1000000) / (float) EncoderTimeDiff;

}

void HAL_TIM_PeriodElapsedCallback(TIM_HandleTypeDef *htim) {
	if (htim == &htim5) {
		_micros += 4294967295;
	}
}
uint64_t micros() {
 	return _micros + htim5.Instance->CNT;
}
/* USER CODE END 4 */

void Error_Handler(void)
{
  __disable_irq();
  while (1)
  {
  }
}

/************************ (C) COPYRIGHT STMicroelectronics *****END OF FILE****/
